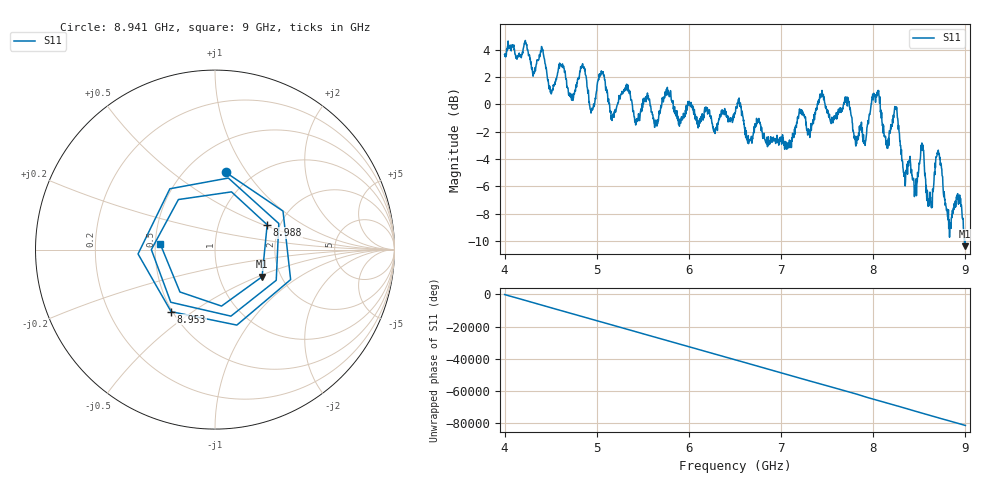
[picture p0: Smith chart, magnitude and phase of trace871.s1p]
! Created with skrf 1.8.0 (http://scikit-rf.org).
# Hz S RI R 50.0
!freq ReS11 ImS11
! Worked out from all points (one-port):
!   1601 points, 4 GHz to 9 GHz, reference 50 ohm
!   lowest |S11| = -10.4 dB at 8.991 GHz (marker M1), VSWR 1.87, Z = 80.1 - j26.7 ohm
!   |S11| at or under -10 dB: 8.98887 GHz to 8.993879 GHz (5.009 MHz wide, 0.0557 % of centre); 8.994164 GHz to end of sweep
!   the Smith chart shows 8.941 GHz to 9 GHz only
!   S11 on the Smith chart (normalised r, x): 8.941 GHz: 0.76, +0.80; 8.953 GHz: 0.49, -0.41; 8.988 GHz: 1.72, +0.53; 9 GHz: 0.53, +0.03
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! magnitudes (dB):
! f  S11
! 4 GHz  3.7
! 4.625 GHz  2.9
! 4.722 GHz  0.6
! 4.85 GHz  2.8
! 4.947 GHz  -0.3
! 5.05 GHz  2.5
! 5.166 GHz  -1.2
! 5.25 GHz  0.6
! 5.875 GHz  -1.1
! 6.5 GHz  -0.6
! 7.125 GHz  -2.1
! 7.441 GHz  0.5
! 7.75 GHz  -0.3
! 7.909 GHz  -2.7
! 8.047 GHz  0.7
! 8.144 GHz  -2.8
! 8.241 GHz  -0.3
! 8.375 GHz  -4.2
! 8.453 GHz  -6.0
! 8.531 GHz  -3.0
! 8.616 GHz  -6.4
! 8.706 GHz  -3.3
! 8.819 GHz  -9.1
! 8.941 GHz  -7.2
! 8.953 GHz  -7.5
! 8.988 GHz  -9.8
! 8.991 GHz  -10.4
! 9 GHz  -10.3
